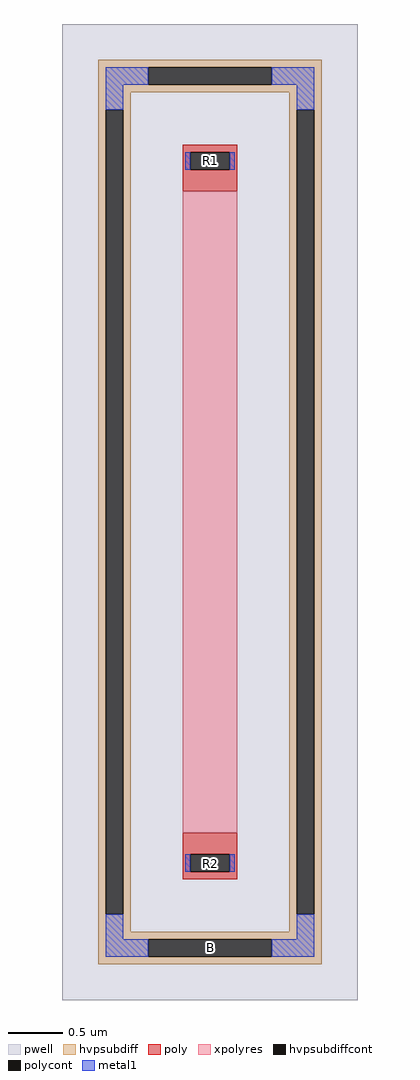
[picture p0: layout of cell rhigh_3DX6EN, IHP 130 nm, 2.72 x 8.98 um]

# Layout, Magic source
magic
tech ihp-sg13cmos5l
<< pwell >>
rect -136 -449 136 449
<< hvpsubdiff >>
rect -103 409 103 416
rect -103 393 -57 409
rect 57 393 103 409
rect -103 386 103 393
rect -103 370 -73 386
rect -103 -370 -96 370
rect -80 -370 -73 370
rect 73 370 103 386
rect -103 -386 -73 -370
rect 73 -370 80 370
rect 96 -370 103 370
rect 73 -386 103 -370
rect -103 -393 103 -386
rect -103 -409 -57 -393
rect 57 -409 103 -393
rect -103 -416 103 -409
<< hvpsubdiffcont >>
rect -57 393 57 409
rect -96 -370 -80 370
rect 80 -370 96 370
rect -57 -409 57 -393
<< poly >>
rect -25 331 25 338
rect -25 315 -18 331
rect 18 315 25 331
rect -25 295 25 315
rect -25 -315 25 -295
rect -25 -331 -18 -315
rect 18 -331 25 -315
rect -25 -338 25 -331
<< polycont >>
rect -18 315 18 331
rect -18 -331 18 -315
<< xpolyres >>
rect -25 -295 25 295
<< metal1 >>
rect -96 393 -57 409
rect 57 393 96 409
rect -96 370 -80 393
rect 80 370 96 393
rect -23 315 -18 331
rect 18 315 23 331
rect -23 -331 -18 -315
rect 18 -331 23 -315
rect -96 -393 -80 -370
rect 80 -393 96 -370
rect -96 -409 -57 -393
rect 57 -409 96 -393
<< labels >>
rlabel hvpsubdiffcont 0 -401 0 -401 0 B
port 1 nsew
rlabel polycont 0 323 0 323 0 R1
port 2 nsew
rlabel polycont 0 -323 0 -323 0 R2
port 3 nsew
<< properties >>
string FIXED_BBOX -88 -401 88 401
string gencell rhigh
string library sg13cmos5l
string MASKHINTS_CONTBAR -25 -338 25 338
string parameters w 0.5 l 5.9 m 1 nx 1 wmin 0.50 lmin 0.50 class resistor rho 1360 val 16.048k dummy 0 dw 0.0 term 0.0 sterm 0.0 caplen 0 bar 1 guard 1 glc 1 grc 1 gtc 1 gbc 1 snake 0 full_metal 1 n_guard 0 hv_guard 1 vias 0 viagb 0 viagt 0 viagl 0 viagr 0 doports 1
<< end >>
